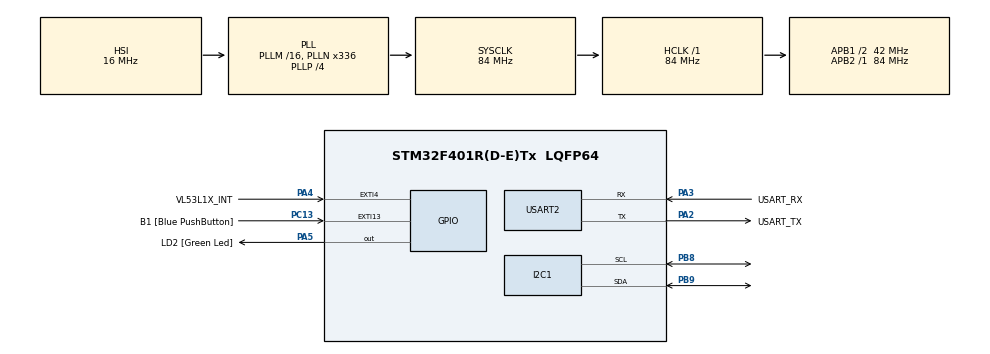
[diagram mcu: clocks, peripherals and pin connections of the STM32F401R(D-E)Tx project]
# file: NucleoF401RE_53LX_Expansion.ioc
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Mcu.Family=STM32F4
Mcu.Name=STM32F401R(D-E)Tx
Mcu.Package=LQFP64
NVIC.EXTI4_IRQn=true\:0\:0\:false\:false\:true\:true\:true\:true
NVIC.PriorityGroup=NVIC_PRIORITYGROUP_0
PA13.GPIO_Label=TMS
PA13.Signal=SYS_JTMS-SWDIO
PA14.GPIO_Label=TCK
PA14.Signal=SYS_JTCK-SWCLK
PA2.GPIO_Label=USART_TX
PA2.GPIO_Mode=GPIO_MODE_AF_PP
PA2.GPIO_PuPd=GPIO_NOPULL
PA2.GPIO_Speed=GPIO_SPEED_FREQ_LOW
PA2.Mode=Asynchronous
PA2.Signal=USART2_TX
PA3.GPIO_Label=USART_RX
PA3.GPIO_Mode=GPIO_MODE_AF_PP
PA3.GPIO_PuPd=GPIO_NOPULL
PA3.GPIO_Speed=GPIO_SPEED_FREQ_LOW
PA3.Mode=Asynchronous
PA3.Signal=USART2_RX
PA4.GPIO_Label=VL53L1X_INT
PA4.GPIO_ModeDefaultEXTI=GPIO_MODE_IT_FALLING
PA4.GPIO_PuPd=GPIO_PULLUP
PA4.Signal=GPXTI4
PA5.GPIO_Label=LD2 [Green Led]
PA5.GPIO_Mode=GPIO_MODE_OUTPUT_PP
PA5.GPIO_PuPd=GPIO_NOPULL
PA5.GPIO_Speed=GPIO_SPEED_FREQ_LOW
PA5.Signal=GPIO_Output
PB3.GPIO_Label=SWO
PB3.Signal=SYS_JTDO-SWO
PB8.Mode=I2C
PB8.Signal=I2C1_SCL
PB9.Mode=I2C
PB9.Signal=I2C1_SDA
PC13-ANTI_TAMP.GPIO_Label=B1 [Blue PushButton]
PC13-ANTI_TAMP.GPIO_ModeDefaultEXTI=GPIO_MODE_IT_FALLING
PC13-ANTI_TAMP.GPIO_PuPd=GPIO_NOPULL
PC13-ANTI_TAMP.Signal=GPXTI13
PC14-OSC32_IN.Signal=RCC_OSC32_IN
PC15-OSC32_OUT.Signal=RCC_OSC32_OUT
PH0\ -\ OSC_IN.Signal=RCC_OSC_IN
PH1\ -\ OSC_OUT.Signal=RCC_OSC_OUT
ProjectManager.HeapSize=0x200
ProjectManager.StackSize=0x400
ProjectManager.TargetToolchain=MDK-ARM V5.32
RCC.AHBFreq_Value=84000000
RCC.APB1CLKDivider=RCC_HCLK_DIV2
RCC.APB1Freq_Value=42000000
RCC.APB1TimFreq_Value=84000000
RCC.APB2Freq_Value=84000000
RCC.APB2TimFreq_Value=84000000
RCC.CortexFreq_Value=84000000
RCC.HCLKFreq_Value=84000000
RCC.HSE_VALUE=8000000
RCC.HSI_VALUE=16000000
RCC.LSE_VALUE=32768
RCC.PLLN=336
RCC.PLLP=RCC_PLLP_DIV4
RCC.PLLQ=7
RCC.SYSCLKFreq_VALUE=84000000
RCC.SYSCLKSource=RCC_SYSCLKSOURCE_PLLCLK
RCC.VCOOutputFreq_Value=336000000
USART2.VirtualMode=VM_ASYNC
board=NUCLEO-F401RE

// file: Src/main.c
/**
  ******************************************************************************
  * File Name          : main.c
  * Description        : Main program body
  ******************************************************************************
  *
  * COPYRIGHT(c) 2024 STMicroelectronics
  *
  * Redistribution and use in source and binary forms, with or without modification,
  * are permitted provided that the following conditions are met:
  *   1. Redistributions of source code must retain the above copyright notice,
  *      this list of conditions and the following disclaimer.
  *   2. Redistributions in binary form must reproduce the above copyright notice,
  *      this list of conditions and the following disclaimer in the documentation
  *      and/or other materials provided with the distribution.
  *   3. Neither the name of STMicroelectronics nor the names of its contributors
  *      may be used to endorse or promote products derived from this software
  *      without specific prior written permission.
  *
  * THIS SOFTWARE IS PROVIDED BY THE COPYRIGHT HOLDERS AND CONTRIBUTORS "AS IS"
  * AND ANY EXPRESS OR IMPLIED WARRANTIES, INCLUDING, BUT NOT LIMITED TO, THE
  * IMPLIED WARRANTIES OF MERCHANTABILITY AND FITNESS FOR A PARTICULAR PURPOSE ARE
  * DISCLAIMED. IN NO EVENT SHALL THE COPYRIGHT HOLDER OR CONTRIBUTORS BE LIABLE
  * FOR ANY DIRECT, INDIRECT, INCIDENTAL, SPECIAL, EXEMPLARY, OR CONSEQUENTIAL
  * DAMAGES (INCLUDING, BUT NOT LIMITED TO, PROCUREMENT OF SUBSTITUTE GOODS OR
  * SERVICES; LOSS OF USE, DATA, OR PROFITS; OR BUSINESS INTERRUPTION) HOWEVER
  * CAUSED AND ON ANY THEORY OF LIABILITY, WHETHER IN CONTRACT, STRICT LIABILITY,
  * OR TORT (INCLUDING NEGLIGENCE OR OTHERWISE) ARISING IN ANY WAY OUT OF THE USE
  * OF THIS SOFTWARE, EVEN IF ADVISED OF THE POSSIBILITY OF SUCH DAMAGE.
  *
  ******************************************************************************
  */
#include "main.h"
#include "stm32f4xx_hal.h"
#include "config.h"

/* USER CODE BEGIN Includes */
#include "main.h"
/* Include VL53L3CX Bare Driver */
#include "vl53lx_api.h"
/* Include VL53L3CX Ultra Low Power Driver */
#include "VL53L3CX_ULP_API.h"
#include "53L3A2.h"
/* USER CODE END Includes */

/* Use this macro to run a Xtalk calibration. This is only require for the Bare
 * driver, using the ranging mode. Ultra low power does not require Xtalk
 * calibration.
 */
// #define ENABLE_XTALK_CALIBRATION

/* 150 frames at 33ms means approx 5 seconds before enabling low power */
#define NB_FRAMES_BEFORE_LOW_POWER		150
I2C_HandleTypeDef hi2c1;

UART_HandleTypeDef huart2;

/* USER CODE BEGIN PV */
/* Private variables ---------------------------------------------------------*/
I2C_HandleTypeDef hi2c1;
UART_HandleTypeDef huart2;
VL53LX_Dev_t                   dev;
VL53LX_DEV                     Dev = &dev;
int status;
volatile int IntCount;
#define isInterrupt 1 /* If isInterrupt = 1 then device working in hardware interrupt mode, else device working in polling mode */
/* USER CODE END PV */

void SystemClock_Config(void);
void Error_Handler(void);
static void MX_GPIO_Init(void);
static void MX_I2C1_Init(void);
static void MX_USART2_UART_Init(void);

/* USER CODE BEGIN PFP */
/* Private function prototypes -----------------------------------------------*/
void SystemClock_Config(void);
void Error_Handler(void);
static void MX_GPIO_Init(void);
static void MX_USART2_UART_Init(void);
static void MX_I2C1_Init(void);
void RangingLoop(void); /*  */
/* USER CODE END PFP */

/* USER CODE BEGIN 0 */
#define PUTCHAR_PROTOTYPE int fputc(int ch, FILE *f)

PUTCHAR_PROTOTYPE
{
  HAL_UART_Transmit(&huart2, (uint8_t*)&ch, 1, 0xFFFF);
  return ch;
}

void HAL_GPIO_EXTI_Callback(uint16_t GPIO_Pin)
{
  if (GPIO_Pin==VL53L1X_INT_Pin)
  {
    IntCount++;
  }
}

/* This function is used to boot the VL53L3CX and start the ultra low power
 * detection. The example of configuration allows to have the following current
 * consumption in 2V8:
 *  - 65¦ÌA when no target is detected
 *  - 90¦ÌA when a target is detected.
 * The maximum ranging distance is approx 400mm.
 */
uint8_t RangeStatus;
uint16_t RangeMilliMeter, SigmaMilliMeter, SignalRateRtnMegaCps, AmbientRateRtnMegaCps;
int InitAndStartLowPower(){
	uint8_t continue_loop = 1;

	printf("**************************************************\n");
	printf("Starting ultra low power - power consumption 65uA\n");
	printf("**************************************************\n");

	status = VL53L3CX_ULP_SensorInit((uint16_t)Dev->I2cDevAddr);

	/*  Example of configuration for generating an interrupt if something is detected below 300mm  */
	//status = VL53L3CX_ULP_SetInterruptConfiguration((uint16_t)Dev->I2cDevAddr, 300, 1);

	status = VL53L3CX_ULP_SetInterMeasurementInMs((uint16_t)Dev->I2cDevAddr, PARA_Intermeasurement_period);
	status = VL53L3CX_ULP_SetMacroTiming((uint16_t)Dev->I2cDevAddr, PARA_Macroperiod);
	status = VL53L3CX_ULP_SetSignalThreshold((uint16_t)Dev->I2cDevAddr, PARA_Signal_threshold);
	status = VL53L3CX_ULP_SetSigmaThreshold((uint16_t)Dev->I2cDevAddr, PARA_Sigma_threshold);
	status = VL53L3CX_ULP_SetROI((uint16_t)Dev->I2cDevAddr, PARA_Region_of_interest);

	status = VL53L3CX_ULP_StartRanging((uint16_t)Dev->I2cDevAddr);
	if(status)
	{
		printf("VL53L3CX_ULP_StartRanging failed: error = %d\n", status);
		return status;
	}

	/* Clear first interrupt (raised when ranging starts) */
	IntCount = 0;

	/* Wait for HW interrupt */
	//printf("Ranging started. Put a target below 300mm to wake up the sensor...\n");
	do
	{
		__WFI();
		if(IntCount !=0 ){
            VL53L3CX_ULP_DumpDebugData(Dev->I2cDevAddr, &RangeStatus, &RangeMilliMeter, &SigmaMilliMeter, &SignalRateRtnMegaCps, &AmbientRateRtnMegaCps);
			IntCount=0;

            printf("Signal=%2.2f Mcps, Ambient=%2.2f Mcps, Sigma=%2.2f mm, D=%5dmm, status=%d",
                SignalRateRtnMegaCps/65536.0,
                AmbientRateRtnMegaCps/65536.0,
                SigmaMilliMeter/65536.0,
                RangeMilliMeter,
                RangeStatus);
            printf ("\n");

			status = VL53L3CX_ULP_ClearInterrupt((uint16_t)Dev->I2cDevAddr);
			//continue_loop = 0;
			//printf("Target detected ! Exit low power mode\n\n");
		}
	}while(continue_loop);

	status = VL53L3CX_ULP_StopRanging((uint16_t)Dev->I2cDevAddr);

	return status;
}

/* This function is used to boot the VL53L3CX and start a ranging session using
 * the standard histogram mode. It is used to measure target distances.
 */
int InitAndStartRanging(){
	uint8_t continue_loop = 1;
	//uint16_t nb_frames_before_low_power = NB_FRAMES_BEFORE_LOW_POWER;
	VL53LX_MultiRangingData_t MultiRangingData;

	printf("***********************************************\n");
	printf("Starting ranging mode - power consumption 16mA\n");
	printf("***********************************************\n");

	status = VL53LX_WaitDeviceBooted(Dev);
	status = VL53LX_DataInit(Dev);

#ifdef ENABLE_XTALK_CALIBRATION
	 status = VL53LX_SetCalibrationData(Dev, &bare_driver_xtalk_caldata);
#endif

    VL53LX_set_tuning_parm(Dev, VL53LX_TUNINGPARM_RESET_MERGE_THRESHOLD,
        PARA_VL53LX_TUNINGPARM_RESET_MERGE_THRESHOLD);
    VL53LX_set_tuning_parm(Dev, VL53LX_TUNINGPARM_PHASECAL_PATCH_POWER,
        PARA_VL53LX_TUNINGPARM_PHASECAL_PATCH_POWER);

	status = VL53LX_StartMeasurement(Dev);
	if(status)
	{
		printf("VL53LX_StartMeasurement failed: error = %d\n", status);
		return status;
	}

//    if(onetime == 2)
//    {
//        VL53LX_get_tuning_parm(Dev, VL53LX_TUNINGPARM_RESET_MERGE_THRESHOLD,
//		&test1);
//        VL53LX_get_tuning_parm(Dev, VL53LX_TUNINGPARM_PHASECAL_PATCH_POWER,
//		&test2);
//        onetime = 3;
//    }
	/* Clear first interrupt (raised when ranging starts) */
	IntCount = 0;

	/* Wait for HW interrupt */
	do
	{
		__WFI();
		if(IntCount !=0 ){
			IntCount=0;
			status = VL53LX_GetMultiRangingData(Dev, &MultiRangingData);

			/* In this example, we consider that the user is not anymore
			 * close to the sensor when :
			 *  - No object is found (user very far from sensor)
			 *  - Or range status is invalid (cannot trust measured distance).
			 *    The example only accepts range status 0 (100% valid) and 6
			 *    (first measurement).
			 *  - Or measured distance is above 1000 mm
			 */

//			if((MultiRangingData.NumberOfObjectsFound == 0)
//				||((MultiRangingData.RangeData[0].RangeStatus != 0)
//						&& (MultiRangingData.RangeData[0].RangeStatus != 6))
//				|| (MultiRangingData.RangeData[0].RangeMilliMeter > 1000))
//			{
//				nb_frames_before_low_power--;
//				printf("No object found below 1000mm - sensor will go in low power in %4u frames\n",
//						nb_frames_before_low_power);
//			}
//			else
//			{
//				nb_frames_before_low_power = NB_FRAMES_BEFORE_LOW_POWER;
//				printf("Distance %d mm, Status %u\n",
//						MultiRangingData.RangeData[0].RangeMilliMeter,
//						MultiRangingData.RangeData[0].RangeStatus);
//			}

//			/* Exit ranging loop if counter reached */
//			if(nb_frames_before_low_power == 0)
//			{
//				printf("No user detected since a few seconds. Exit ranging mode and go in low power.\n\n");
//				continue_loop = 0;
//			}
//            if((MultiRangingData.NumberOfObjectsFound == 0)
//				||((MultiRangingData.RangeData[0].RangeStatus != 0)
//						&& (MultiRangingData.RangeData[0].RangeStatus != 6))
//				|| (MultiRangingData.RangeData[0].RangeMilliMeter > 1000))
//			{
//            }
//            else
//            {
            printf("Signal=%2.2f Mcps, Ambient=%2.2f Mcps, Sigma=%2.2f mm, D=%5dmm, status=%d",
                 MultiRangingData.RangeData[0].SignalRateRtnMegaCps/65536.0,
                 MultiRangingData.RangeData[0].AmbientRateRtnMegaCps/65536.0,
                 MultiRangingData.RangeData[0].SigmaMilliMeter/65536.0,
                 MultiRangingData.RangeData[0].RangeMilliMeter,
                 MultiRangingData.RangeData[0].RangeStatus);
            printf ("\n");
//            }
			status = VL53LX_ClearInterruptAndStartMeasurement(Dev);

		}

	}while(continue_loop);

	status = VL53LX_StopMeasurement(Dev);

	return status;
}

/* USER CODE END 0 */

int main(void)
{

  /* USER CODE BEGIN 1 */

//  uint8_t byteData;
//  uint16_t wordData;
  uint8_t ToFSensor = 1; // 0=Left, 1=Center(default), 2=Right

  /* MCU Configuration----------------------------------------------------------*/

  /* Reset of all peripherals, Initializes the Flash interface and the Systick. */
  HAL_Init();

  /* Configure the system clock */
  SystemClock_Config();

  /* Initialize all configured peripherals */
  MX_GPIO_Init();

  MX_USART2_UART_Init();

  MX_I2C1_Init();

  XNUCLEO53L3A2_Init();

  /* USER CODE END 1 */

  /* MCU Configuration----------------------------------------------------------*/

  /* Reset of all peripherals, Initializes the Flash interface and the Systick. */
//  HAL_Init();

//  /* Configure the system clock */
//  SystemClock_Config();

//  /* Initialize all configured peripherals */
//  MX_GPIO_Init();
//  MX_I2C1_Init();
//  MX_USART2_UART_Init();

  /* USER CODE BEGIN 2 */
#if PARA_UltraLowPower
    printf("Starting example with L3CX bare driver and ultra low power\n");

	/* Assign the default address to the sensor */
	Dev->I2cHandle = &hi2c1;
	Dev->I2cDevAddr = 0x52;

	/* Allow to select the sensor to be used, multi-sensor is not managed in this example.
	Only when use use the Left ToF in interrupt mode,  solder the U7 on the X-Nucleo-53L3A2 board
	Only when use the Right ToF in interrupt mode, solder the U7 on the X-Nucleo-53L3A2 board
	See "Solder drop configurations" in the X-Nucleo-53L3A2 User Manual for more details */
	status = XNUCLEO53L3A2_ResetId(1, 0);
	HAL_Delay(2);
	status = XNUCLEO53L3A2_ResetId(1, 1);
	HAL_Delay(2);

	/* Print the software version */
	printf("Ultra low power driver version : %s / Bare driver driver version : %u.%u.%u\n\n",
			VL53L3CX_ULP_VERSION,
			VL53LX_IMPLEMENTATION_VER_MAJOR,
			VL53LX_IMPLEMENTATION_VER_MINOR,
			VL53LX_IMPLEMENTATION_VER_SUB);
#else
  printf("VL53L1X Examples...\n");
  Dev->I2cHandle = &hi2c1;
  Dev->I2cDevAddr = 0x52;

  /* Allow to select the sensor to be used, multi-sensor is not managed in this example.
  Only when use use the Left ToF in interrupt mode,  solder the U7 on the X-Nucleo-53L3A2 board
  Only when use the Right ToF in interrupt mode, solder the U7 on the X-Nucleo-53L3A2 board
  See "Solder drop configurations" in the X-Nucleo-53L3A2 User Manual for more details */
  ToFSensor = 1; // Select ToFSensor: 0=Left, 1=Center, 2=Right
  status = XNUCLEO53L3A2_ResetId(ToFSensor, 0); // Reset ToF sensor
  HAL_Delay(2);
  status = XNUCLEO53L3A2_ResetId(ToFSensor, 1); // Reset ToF sensor
  HAL_Delay(2);
//
//  VL53LX_RdByte(Dev, 0x010F, &byteData);
//  printf("VL53LX Model_ID: %02X\n\r", byteData);
//  VL53LX_RdByte(Dev, 0x0110, &byteData);
//  printf("VL53LX Module_Type: %02X\n\r", byteData);
//  VL53LX_RdWord(Dev, 0x010F, &wordData);
//  printf("VL53LX: %02X\n\r", wordData);
//  RangingLoop();
#endif

#ifdef ENABLE_XTALK_CALIBRATION

	/* If the macro is enabled, run a Xtalk calibration and store the data in a
	 * global variable. For running the calibration, a black5 % target (Full FOV)
	 * needs to be put at at 600mm from the sensor. */

	  status = VL53LX_WaitDeviceBooted(Dev);
	  status = VL53LX_DataInit(Dev);

	  printf("Running Xtalk calibration...\n");
	  status = VL53LX_PerformXTalkCalibration(Dev);
	  if(status){
		  printf("Error during Xtalk calibration : %d\n", status);
	  }

	  memset(&bare_driver_xtalk_caldata, 0, sizeof(bare_driver_xtalk_caldata));
	  status = VL53LX_GetCalibrationData(Dev, &bare_driver_xtalk_caldata);
	  printf("xtalk_cal.algo__crosstalk_compensation_plane_offset_kcps:\t%f\n"
			    "xtalk_cal.algo__crosstalk_compensation_x_plane_gradient_kcps:\t%f\n,"
			    "xtalk_cal.algo__crosstalk_compensation_y_plane_gradient_kcps:\t%f\n",
				bare_driver_xtalk_caldata.customer.algo__crosstalk_compensation_plane_offset_kcps* 1.0 / (1<<9),
				bare_driver_xtalk_caldata.customer.algo__crosstalk_compensation_x_plane_gradient_kcps * 1.0 / (1<<11),
				bare_driver_xtalk_caldata.customer.algo__crosstalk_compensation_y_plane_gradient_kcps * 1.0 / (1<<11));
#endif
    status = VL53LX_StopMeasurement(Dev);   //Stop Before Using

    status = 0;
	while(!status)
	{
        #if PARA_UltraLowPower
		status |= InitAndStartLowPower();
        #else
		status |= InitAndStartRanging();
        #endif
	}

	printf("Program exit after error raised\n");

  /* USER CODE END 2 */

  /* Infinite loop */
  /* USER CODE BEGIN WHILE */
  //while (1)
  {
  /* USER CODE END WHILE */

  }

}

/** System Clock Configuration
*/
void SystemClock_Config(void)
{

  RCC_OscInitTypeDef RCC_OscInitStruct;
  RCC_ClkInitTypeDef RCC_ClkInitStruct;

    /**Configure the main internal regulator output voltage
    */
  __HAL_RCC_PWR_CLK_ENABLE();

  __HAL_PWR_VOLTAGESCALING_CONFIG(PWR_REGULATOR_VOLTAGE_SCALE2);

    /**Initializes the CPU, AHB and APB busses clocks
    */
  RCC_OscInitStruct.OscillatorType = RCC_OSCILLATORTYPE_HSI;
  RCC_OscInitStruct.HSIState = RCC_HSI_ON;
  RCC_OscInitStruct.HSICalibrationValue = 16;
  RCC_OscInitStruct.PLL.PLLState = RCC_PLL_ON;
  RCC_OscInitStruct.PLL.PLLSource = RCC_PLLSOURCE_HSI;
  RCC_OscInitStruct.PLL.PLLM = 16;
  RCC_OscInitStruct.PLL.PLLN = 336;
  RCC_OscInitStruct.PLL.PLLP = RCC_PLLP_DIV4;
  RCC_OscInitStruct.PLL.PLLQ = 7;
  if (HAL_RCC_OscConfig(&RCC_OscInitStruct) != HAL_OK)
  {
    Error_Handler();
  }

    /**Initializes the CPU, AHB and APB busses clocks
    */
  RCC_ClkInitStruct.ClockType = RCC_CLOCKTYPE_HCLK|RCC_CLOCKTYPE_SYSCLK
                              |RCC_CLOCKTYPE_PCLK1|RCC_CLOCKTYPE_PCLK2;
  RCC_ClkInitStruct.SYSCLKSource = RCC_SYSCLKSOURCE_PLLCLK;
  RCC_ClkInitStruct.AHBCLKDivider = RCC_SYSCLK_DIV1;
  RCC_ClkInitStruct.APB1CLKDivider = RCC_HCLK_DIV2;
  RCC_ClkInitStruct.APB2CLKDivider = RCC_HCLK_DIV1;

  if (HAL_RCC_ClockConfig(&RCC_ClkInitStruct, FLASH_LATENCY_2) != HAL_OK)
  {
    Error_Handler();
  }

    /**Configure the Systick interrupt time
    */
  HAL_SYSTICK_Config(HAL_RCC_GetHCLKFreq()/1000);

    /**Configure the Systick
    */
  HAL_SYSTICK_CLKSourceConfig(SYSTICK_CLKSOURCE_HCLK);

  /* SysTick_IRQn interrupt configuration */
  HAL_NVIC_SetPriority(SysTick_IRQn, 0, 0);
}

/* I2C1 init function */
static void MX_I2C1_Init(void)
{

  hi2c1.Instance = I2C1;
  hi2c1.Init.ClockSpeed = 100000;
  hi2c1.Init.DutyCycle = I2C_DUTYCYCLE_2;
  hi2c1.Init.OwnAddress1 = 0;
  hi2c1.Init.AddressingMode = I2C_ADDRESSINGMODE_7BIT;
  hi2c1.Init.DualAddressMode = I2C_DUALADDRESS_DISABLE;
  hi2c1.Init.OwnAddress2 = 0;
  hi2c1.Init.GeneralCallMode = I2C_GENERALCALL_DISABLE;
  hi2c1.Init.NoStretchMode = I2C_NOSTRETCH_DISABLE;
  if (HAL_I2C_Init(&hi2c1) != HAL_OK)
  {
    Error_Handler();
  }

}

/* USART2 init function */
static void MX_USART2_UART_Init(void)
{

  huart2.Instance = USART2;
  huart2.Init.BaudRate = 115200;
  huart2.Init.WordLength = UART_WORDLENGTH_8B;
  huart2.Init.StopBits = UART_STOPBITS_1;
  huart2.Init.Parity = UART_PARITY_NONE;
  huart2.Init.Mode = UART_MODE_TX_RX;
  huart2.Init.HwFlowCtl = UART_HWCONTROL_NONE;
  huart2.Init.OverSampling = UART_OVERSAMPLING_16;
  if (HAL_UART_Init(&huart2) != HAL_OK)
  {
    Error_Handler();
  }

}

/** Configure pins as
        * Analog
        * Input
        * Output
        * EVENT_OUT
        * EXTI
*/
static void MX_GPIO_Init(void)
{

  GPIO_InitTypeDef GPIO_InitStruct;

  /* GPIO Ports Clock Enable */
  __HAL_RCC_GPIOC_CLK_ENABLE();
  __HAL_RCC_GPIOH_CLK_ENABLE();
  __HAL_RCC_GPIOA_CLK_ENABLE();
  __HAL_RCC_GPIOB_CLK_ENABLE();

  /*Configure GPIO pin Output Level */
  HAL_GPIO_WritePin(LD2_GPIO_Port, LD2_Pin, GPIO_PIN_RESET);

  /*Configure GPIO pin : B1_Pin */
  GPIO_InitStruct.Pin = B1_Pin;
  GPIO_InitStruct.Mode = GPIO_MODE_IT_FALLING;
  GPIO_InitStruct.Pull = GPIO_NOPULL;
  HAL_GPIO_Init(B1_GPIO_Port, &GPIO_InitStruct);

  /*Configure GPIO pin : VL53L1X_INT_Pin */
  GPIO_InitStruct.Pin = VL53L1X_INT_Pin;
  GPIO_InitStruct.Mode = GPIO_MODE_IT_FALLING;
  GPIO_InitStruct.Pull = GPIO_PULLUP;
  HAL_GPIO_Init(VL53L1X_INT_GPIO_Port, &GPIO_InitStruct);

  /*Configure GPIO pin : LD2_Pin */
  GPIO_InitStruct.Pin = LD2_Pin;
  GPIO_InitStruct.Mode = GPIO_MODE_OUTPUT_PP;
  GPIO_InitStruct.Pull = GPIO_NOPULL;
  GPIO_InitStruct.Speed = GPIO_SPEED_FREQ_LOW;
  HAL_GPIO_Init(LD2_GPIO_Port, &GPIO_InitStruct);

  /* EXTI interrupt init*/
  HAL_NVIC_SetPriority(EXTI4_IRQn, 0, 0);
  HAL_NVIC_EnableIRQ(EXTI4_IRQn);

}

/* USER CODE BEGIN 4 */

/* ranging and display loop */
void RangingLoop(void)
{
  VL53LX_MultiRangingData_t MultiRangingData;
  VL53LX_MultiRangingData_t *pMultiRangingData = &MultiRangingData;
  uint8_t NewDataReady=0;
  int no_of_object_found=0,j;
  printf("Ranging loop starts\n");

  status = VL53LX_WaitDeviceBooted(Dev);
  status = VL53LX_DataInit(Dev);
  status = VL53LX_StartMeasurement(Dev);

  if(status){
    printf("VL53LX_StartMeasurement failed: error = %d \n", status);
    while(1);
  }

  if (isInterrupt){
    do // HW interrupt mode
    {
      __WFI();
      if(IntCount !=0 ){
        IntCount=0;
        status = VL53LX_GetMultiRangingData(Dev, pMultiRangingData);
        no_of_object_found=pMultiRangingData->NumberOfObjectsFound;
        printf("Count=%5d, ", pMultiRangingData->StreamCount);
        printf("#Objs=%1d ", no_of_object_found);
        printf("Xtalk=%5d ", pMultiRangingData->HasXtalkValueChanged);
        printf("Spad=%5d ", pMultiRangingData->EffectiveSpadRtnCount);
        for(j=0;j<no_of_object_found;j++){
          if(j!=0)printf("\n                     ");
          printf("Max=%d, Min=%d, Signal=%2.2f Mcps, Ambient=%2.2f Mcps, Sigma=%2.2f mm, D=%5dmm, status=%d, ER=%d",
                 pMultiRangingData->RangeData[j].RangeMaxMilliMeter,
                 pMultiRangingData->RangeData[j].RangeMinMilliMeter,
                 pMultiRangingData->RangeData[j].SignalRateRtnMegaCps/65536.0,
                 pMultiRangingData->RangeData[j].AmbientRateRtnMegaCps/65536.0,
                 pMultiRangingData->RangeData[j].SigmaMilliMeter/65536.0,
                 pMultiRangingData->RangeData[j].RangeMilliMeter,
                 pMultiRangingData->RangeData[j].RangeStatus,
                 pMultiRangingData->RangeData[j].ExtendedRange);
        }
        printf ("\n");
        if (status==0){
          status = VL53LX_ClearInterruptAndStartMeasurement(Dev);
        }

      }
    }
    while(1);
  }
  else{
    do{ // polling mode
      status = VL53LX_GetMeasurementDataReady(Dev, &NewDataReady);
      HAL_Delay(1); // 1 ms polling period, could be longer.
      if((!status)&&(NewDataReady!=0)){
        status = VL53LX_GetMultiRangingData(Dev, pMultiRangingData);
        no_of_object_found=pMultiRangingData->NumberOfObjectsFound;
        printf("Count=%5d, ", pMultiRangingData->StreamCount);
        printf("#Objs=%1d ", no_of_object_found);
        for(j=0;j<no_of_object_found;j++){
          if(j!=0)printf("\n                     ");
          printf("status=%d, D=%5dmm, Signal=%2.2f Mcps, Ambient=%2.2f Mcps",
                 pMultiRangingData->RangeData[j].RangeStatus,
                 pMultiRangingData->RangeData[j].RangeMilliMeter,
                 pMultiRangingData->RangeData[j].SignalRateRtnMegaCps/65536.0,
                 pMultiRangingData->RangeData[j].AmbientRateRtnMegaCps/65536.0);
        }
        printf ("\n");
        if (status==0){
          status = VL53LX_ClearInterruptAndStartMeasurement(Dev);
        }
      }
    }
    while (1);
  }
}

/* USER CODE END 4 */

void Error_Handler(void)
{
  while(1)
  {
  }
}

/************************ (C) COPYRIGHT STMicroelectronics *****END OF FILE****/
